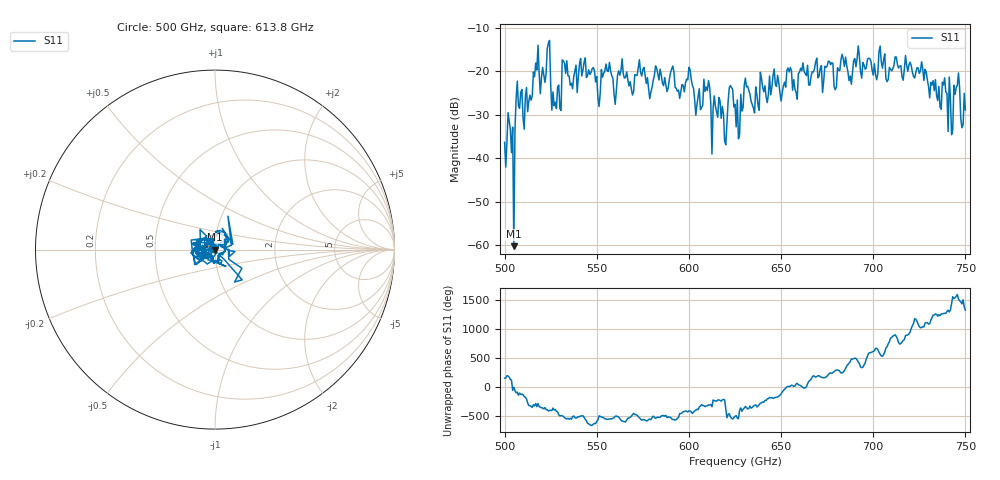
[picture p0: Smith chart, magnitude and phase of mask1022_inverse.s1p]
!Created with skrf (http://scikit-rf.org).
# GHz S MA R 50.0
!freq magS11 angS11
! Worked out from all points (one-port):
!   401 points, 500 GHz to 750 GHz, reference 50 ohm
!   lowest |S11| = -60.2 dB at 505 GHz (marker M1), VSWR 1.00, Z = 50.1 - j0.0147 ohm
!   |S11| at or under -10 dB: start of sweep to end of sweep
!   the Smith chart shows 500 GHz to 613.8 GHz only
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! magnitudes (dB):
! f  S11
! 500 GHz  -36.3
! 503.1 GHz  -33.4
! 503.8 GHz  -38.7
! 505 GHz  -60.2
! 507.5 GHz  -27.9
! 513.8 GHz  -25.5
! 516.9 GHz  -18.1
! 520.6 GHz  -19.1
! 523.8 GHz  -13.5
! 526.9 GHz  -27.9
! 531.2 GHz  -17.4
! 542.5 GHz  -19.7
! 550.6 GHz  -26.1
! 556.2 GHz  -20.0
! 560 GHz  -27.6
! 562.5 GHz  -20.9
! 593.8 GHz  -24.6
! 609.4 GHz  -23.6
! 619.4 GHz  -36.1
! 622.5 GHz  -23.3
! 625 GHz  -27.6
! 656.2 GHz  -24.3
! 680 GHz  -23.6
! 683.8 GHz  -17.2
! 687.5 GHz  -21.1
! 691.2 GHz  -17.1
! 718.8 GHz  -20.0
! 750 GHz  -28.9
